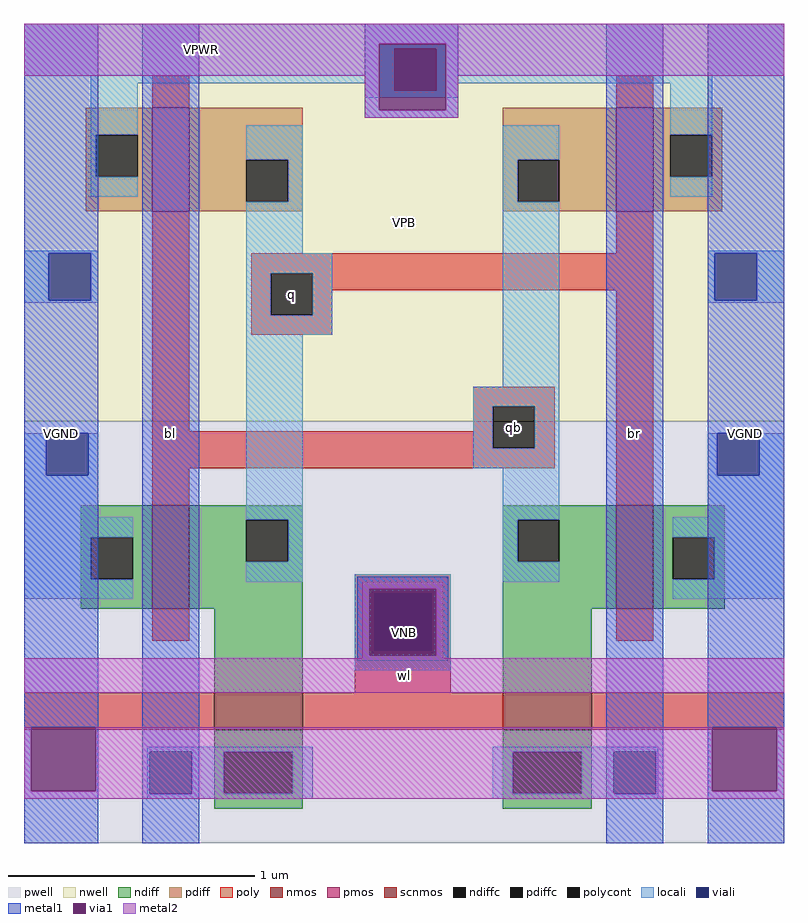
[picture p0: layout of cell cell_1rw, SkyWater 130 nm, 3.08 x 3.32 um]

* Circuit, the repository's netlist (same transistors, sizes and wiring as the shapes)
* NGSPICE file created from cell_1rw.ext - technology: sky130A

.subckt cell_1rw bl br VGND VPWR wl VNB VPB
X0 q qb VGND VNB sky130_fd_pr__nfet_01v8 ad=3.156e+11p pd=2.44e+06u as=2.436e+11p ps=2.84e+06u w=420000u l=150000u
X1 VPWR q qb VPB sky130_fd_pr__pfet_01v8 ad=2.31e+11p pd=2.78e+06u as=1.932e+11p ps=1.76e+06u w=420000u l=150000u
X2 VGND q qb VNB sky130_fd_pr__nfet_01v8 ad=0p pd=0u as=3.156e+11p ps=2.44e+06u w=420000u l=150000u
X3 q qb VPWR VPB sky130_fd_pr__pfet_01v8 ad=1.932e+11p pd=1.76e+06u as=0p ps=0u w=420000u l=150000u
X4 qb wl br VNB sky130_fd_pr__nfet_01v8 ad=0p pd=0u as=1.152e+11p ps=1.36e+06u w=360000u l=150000u
X5 q wl bl VNB sky130_fd_pr__nfet_01v8 ad=0p pd=0u as=1.152e+11p ps=1.36e+06u w=360000u l=150000u
.ends

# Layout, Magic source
magic
tech sky130A
<< nwell >>
rect -52 76 256 237
<< pwell >>
rect -52 -95 256 76
<< nmos >>
rect 0 0 15 42
rect 188 0 203 42
<< scnmos >>
rect 25 -49 61 -34
rect 142 -49 178 -34
<< pmos >>
rect 0 161 15 203
rect 188 161 203 203
<< ndiff >>
rect -29 29 0 42
rect -29 12 -25 29
rect -8 12 0 29
rect -29 0 0 12
rect 15 36 61 42
rect 15 19 38 36
rect 55 19 61 36
rect 15 0 61 19
rect 142 36 188 42
rect 142 19 148 36
rect 165 19 188 36
rect 25 -34 61 0
rect 142 0 188 19
rect 203 29 232 42
rect 203 12 211 29
rect 228 12 232 29
rect 203 0 232 12
rect 142 -34 178 0
rect 25 -58 61 -49
rect 25 -75 29 -58
rect 57 -75 61 -58
rect 25 -81 61 -75
rect 142 -58 178 -49
rect 142 -75 146 -58
rect 174 -75 178 -58
rect 142 -81 178 -75
<< pdiff >>
rect -27 192 0 203
rect -27 175 -23 192
rect -6 175 0 192
rect -27 161 0 175
rect 15 182 61 203
rect 15 165 38 182
rect 55 165 61 182
rect 15 161 61 165
rect 142 182 188 203
rect 142 165 148 182
rect 165 165 188 182
rect 142 161 188 165
rect 203 192 231 203
rect 203 175 210 192
rect 227 175 231 192
rect 203 161 231 175
<< ndiffc >>
rect -25 12 -8 29
rect 38 19 55 36
rect 148 19 165 36
rect 211 12 228 29
rect 29 -75 57 -58
rect 146 -75 174 -58
<< pdiffc >>
rect -23 175 -6 192
rect 38 165 55 182
rect 148 165 165 182
rect 210 175 227 192
<< poly >>
rect 0 203 15 216
rect 188 203 203 216
rect 0 72 15 161
rect 188 144 203 161
rect 40 136 203 144
rect 40 119 48 136
rect 65 129 203 136
rect 65 119 73 129
rect 40 111 73 119
rect 130 82 163 90
rect 130 72 138 82
rect 0 65 138 72
rect 155 65 163 82
rect 0 57 163 65
rect 0 42 15 57
rect 188 42 203 129
rect 0 -13 15 0
rect 82 6 121 14
rect 82 -17 90 6
rect 113 -17 121 6
rect 82 -34 121 -17
rect 188 -13 203 0
rect -52 -49 25 -34
rect 61 -49 142 -34
rect 178 -49 256 -34
<< polycont >>
rect 48 119 65 136
rect 138 65 155 82
rect 90 -17 113 6
<< locali >>
rect -52 227 256 237
rect -52 216 98 227
rect -25 213 98 216
rect -25 192 -6 213
rect 86 210 98 213
rect 115 216 256 227
rect 115 213 227 216
rect 115 210 124 213
rect 86 207 124 210
rect -25 175 -23 192
rect -25 167 -6 175
rect 38 182 61 196
rect 55 165 61 182
rect -52 144 -22 145
rect -52 125 -42 144
rect -25 125 -22 144
rect -52 124 -22 125
rect 38 144 61 165
rect 142 182 165 196
rect 142 165 148 182
rect 210 192 227 213
rect 210 167 227 175
rect 38 136 73 144
rect 38 119 48 136
rect 65 119 73 136
rect 38 111 73 119
rect -52 54 -43 71
rect -26 54 -22 71
rect -52 37 -22 54
rect -52 29 -8 37
rect -52 12 -25 29
rect -52 4 -8 12
rect 38 36 61 111
rect 142 90 165 165
rect 225 144 256 145
rect 225 125 228 144
rect 245 125 256 144
rect 225 124 256 125
rect 130 82 165 90
rect 130 65 138 82
rect 155 65 165 82
rect 130 57 165 65
rect 55 19 61 36
rect 38 11 61 19
rect 142 36 165 57
rect 225 54 229 71
rect 246 54 256 71
rect 225 37 256 54
rect 142 19 148 36
rect 82 7 121 14
rect 142 11 165 19
rect 211 29 256 37
rect 228 12 256 29
rect 82 -18 89 7
rect 114 -18 121 7
rect 211 4 256 12
rect 82 -25 121 -18
rect -2 -58 65 -56
rect -2 -75 -1 -58
rect 16 -75 29 -58
rect 57 -75 65 -58
rect -2 -77 65 -75
rect 138 -58 205 -56
rect 138 -75 146 -58
rect 174 -75 187 -58
rect 204 -75 205 -58
rect 138 -77 205 -75
<< viali >>
rect 98 210 115 227
rect -42 125 -25 144
rect -43 54 -26 71
rect 228 125 245 144
rect 229 54 246 71
rect 89 6 114 7
rect 89 -17 90 6
rect 90 -17 113 6
rect 113 -17 114 6
rect 89 -18 114 -17
rect -1 -75 16 -58
rect 187 -75 204 -58
<< metal1 >>
rect -52 144 -22 237
rect -52 125 -42 144
rect -25 125 -22 144
rect -52 71 -22 125
rect -52 54 -43 71
rect -26 54 -22 71
rect -52 -48 -22 54
rect -52 -74 -49 -48
rect -23 -74 -22 -48
rect -52 -95 -22 -74
rect -4 -58 19 237
rect 86 229 124 237
rect 86 202 92 229
rect 119 202 124 229
rect 86 199 124 202
rect 83 8 120 13
rect 83 -19 88 8
rect 115 -19 120 8
rect 83 -21 120 -19
rect -4 -75 -1 -58
rect 16 -75 19 -58
rect -4 -95 19 -75
rect 184 -58 207 237
rect 184 -75 187 -58
rect 204 -75 207 -58
rect 184 -95 207 -75
rect 225 144 256 237
rect 225 125 228 144
rect 245 125 256 144
rect 225 71 256 125
rect 225 54 229 71
rect 246 54 256 71
rect 225 -48 256 54
rect 225 -74 227 -48
rect 253 -74 256 -48
rect 225 -95 256 -74
<< via1 >>
rect -49 -74 -23 -48
rect 92 227 119 229
rect 92 210 98 227
rect 98 210 115 227
rect 115 210 119 227
rect 92 202 119 210
rect 88 7 115 8
rect 88 -18 89 7
rect 89 -18 114 7
rect 114 -18 115 7
rect 88 -19 115 -18
rect 227 -74 253 -48
<< metal2 >>
rect -52 229 256 237
rect -52 216 92 229
rect 86 202 92 216
rect 119 216 256 229
rect 119 202 124 216
rect 86 199 124 202
rect 85 8 118 11
rect 85 -19 88 8
rect 115 -19 118 8
rect 85 -20 118 -19
rect -52 -34 256 -20
rect -52 -74 -49 -48
rect -23 -74 227 -48
rect 253 -74 256 -48
rect -52 -77 256 -74
<< labels >>
rlabel polycont 48 119 65 136 1 q
rlabel polycont 138 65 155 82 1 qb
rlabel metal2 -52 -34 256 -20 1 wl
port 7 n
rlabel metal1 -4 -95 19 237 1 bl
port 1 n
rlabel metal1 184 -95 207 237 1 br
port 2 n
rlabel nwell -52 76 256 237 1 VPB
port 5 n
rlabel pwell -52 -95 256 76 1 VNB
port 6 n
rlabel metal2 -52 216 92 237 1 VPWR
port 4 n
rlabel metal1 -52 -95 -22 237 1 VGND
port 3 n
rlabel metal1 225 -95 256 237 1 VGND
<< end >>
